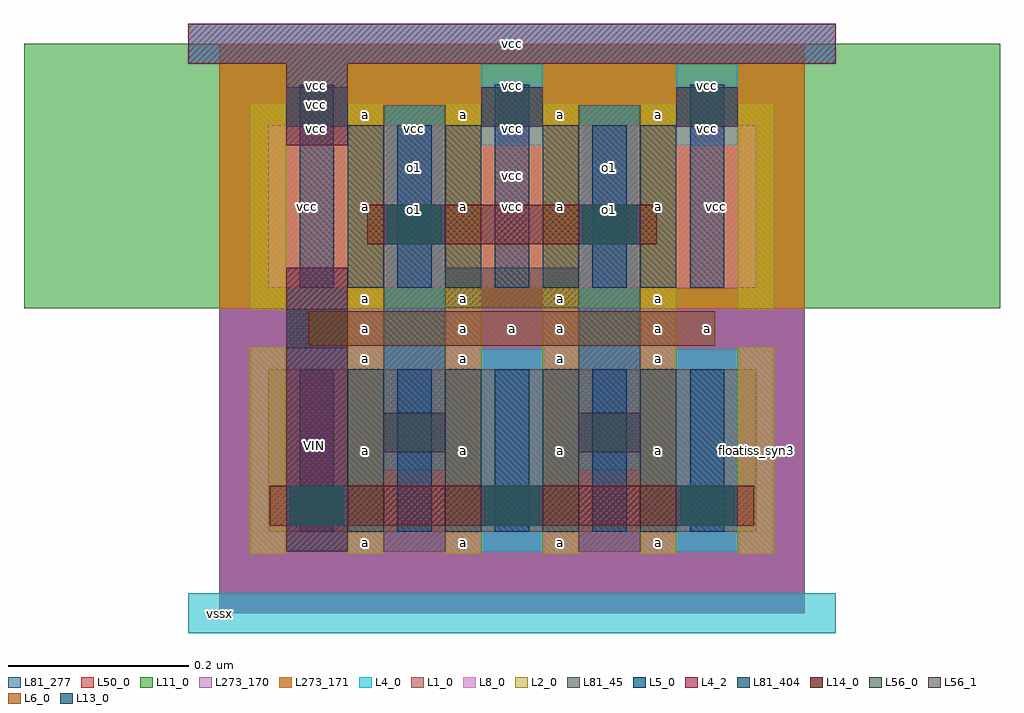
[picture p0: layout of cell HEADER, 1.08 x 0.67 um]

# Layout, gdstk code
import gdstk
lib = gdstk.Library(unit=1e-6, precision=5e-10)
def R(c, l, rs):  # rectangles x0, y0, x1, y1
    for r in rs: c.add(gdstk.rectangle(r[:2], r[2:], *l))
def A(c, l, x, y, w, h, nx, ny, dx, dy):  # array of equal rectangles
    R(c, l, [(x+i*dx, y+j*dy, x+i*dx+w, y+j*dy+h) for i in range(nx) for j in range(ny)])
L1_0 = (1, 0)
L2_0 = (2, 0)
L4_0 = (4, 0)
L4_2 = (4, 2)
L5_0 = (5, 0)
L6_0 = (6, 0)
L8_0 = (8, 0)
L11_0 = (11, 0)
L13_0 = (13, 0)
L14_0 = (14, 0)
L50_0 = (50, 0)
L56_0 = (56, 0)
L56_1 = (56, 1)
L81_45 = (81, 45)
L81_277 = (81, 277)
L81_404 = (81, 404)
L273_170 = (273, 170)
L273_171 = (273, 171)

header = lib.new_cell('HEADER')
A(header, L1_0, 0.089, 0.09, 0.038, 0.18, 5, 1, 0.108, 0)
A(header, L1_0, 0.142, 0.09, 0.04, 0.18, 4, 1, 0.108, 0)
R(header, L1_0, [(0.054,0.09,0.142,0.27), (0.182,0.09,0.25,0.27), (0.182,0.09,0.25,0.27), (0.29,0.09,0.358,0.27), (0.29,0.09,0.358,0.27), (0.398,0.09,0.466,0.27), (0.398,0.09,0.466,0.27), (0.506,0.09,0.594,0.27)])
A(header, L2_0, 0.142, 0.066, 0.04, 0.024, 4, 2, 0.108, 0.204)
A(header, L2_0, 0.142, 0.09, 0.04, 0.18, 4, 2, 0.108, 0.27)
A(header, L2_0, 0.142, 0.336, 0.04, 0.024, 4, 2, 0.108, 0.204)
A(header, L4_0, 0.074, 0.52, 0.068, 0.044, 3, 1, 0.216, 0)
R(header, L4_0, [(0.074,0.293,0.142,0.337), (0.182,0.448,0.25,0.492), (0.398,0.448,0.466,0.492)])
R(header, L4_2, [(0.074,0.0685,0.142,0.382)])
A(header, L5_0, 0.089, 0.09, 0.038, 0.18, 5, 2, 0.108, 0.27)
A(header, L5_0, 0.197, 0.155, 0.038, 0.003, 4, 2, 0.108, 0.047)
A(header, L5_0, 0.197, 0.158, 0.038, 0.044, 4, 1, 0.108, 0)
A(header, L5_0, 0.089, 0.535, 0.038, 0.003, 3, 2, 0.216, 0.047)
A(header, L5_0, 0.089, 0.538, 0.038, 0.044, 3, 1, 0.216, 0)
R(header, L5_0, [(0.197,0.445,0.235,0.448), (0.413,0.445,0.451,0.448), (0.197,0.448,0.235,0.492), (0.413,0.448,0.451,0.492), (0.197,0.492,0.235,0.495), (0.413,0.492,0.451,0.495)])
R(header, L6_0, [(0.099,0.296,0.117,0.334)])
A(header, L8_0, 0.089, 0.36, 0.038, 0.18, 5, 1, 0.108, 0)
A(header, L8_0, 0.142, 0.36, 0.04, 0.18, 4, 1, 0.108, 0)
R(header, L8_0, [(0.054,0.36,0.142,0.54), (0.182,0.36,0.25,0.54), (0.182,0.36,0.25,0.54), (0.29,0.36,0.358,0.54), (0.29,0.36,0.358,0.54), (0.398,0.36,0.466,0.54), (0.398,0.36,0.466,0.54), (0.506,0.36,0.594,0.54)])
R(header, L11_0, [(-0.216,0.3375,0.864,0.63)])
A(header, L13_0, 0.078, 0.097, 0.06, 0.044, 3, 1, 0.216, 0)
R(header, L13_0, [(0.186,0.408,0.246,0.452), (0.402,0.408,0.462,0.452)])
R(header, L14_0, [(0.056,0.097,0.592,0.141), (0.164,0.408,0.484,0.452)])
R(header, L50_0, [(0,0,0.648,0.63)])
A(header, L56_0, 0.074, 0.097, 0.068, 0.044, 3, 2, 0.216, 0.441)
R(header, L56_0, [(0.182,0.178,0.25,0.222), (0.398,0.178,0.466,0.222), (0.074,0.293,0.142,0.337), (0.182,0.408,0.25,0.452), (0.398,0.408,0.466,0.452)])
A(header, L56_1, 0.074, 0.097, 0.068, 0.044, 3, 2, 0.216, 0.441)
R(header, L56_1, [(0.182,0.178,0.25,0.222), (0.398,0.178,0.466,0.222), (0.074,0.293,0.142,0.337), (0.182,0.408,0.25,0.452), (0.398,0.408,0.466,0.452)])
R(header, L81_45, [(0.182,0.068,0.25,0.562), (0.398,0.068,0.466,0.562), (0.074,0.0685,0.142,0.3825), (0.25,0.338,0.398,0.382)])
A(header, L81_277, 0.142, 0.09, 0.04, 0.18, 4, 2, 0.108, 0.27)
R(header, L81_277, [(0,0,0.648,0.63)])
A(header, L81_404, 0.142, 0.09, 0.04, 0.18, 4, 2, 0.108, 0.27)
A(header, L273_170, 0.142, 0.09, 0.04, 0.18, 4, 1, 0.108, 0)
R(header, L273_170, [(0,0,0.648,0.3375)])
A(header, L273_171, 0.142, 0.36, 0.04, 0.18, 4, 1, 0.108, 0)
R(header, L273_171, [(0,0.3375,0.648,0.63)])
header.add(gdstk.FlexPath([(-0.034,0.63),(0.682,0.63)], 0.044, ends="flush", simple_path=True, layer=4, datatype=0))  # L4_0
header.add(gdstk.FlexPath([(-0.034,0),(0.682,0)], 0.044, ends="flush", simple_path=True, layer=4, datatype=0))  # L4_0
header.add(gdstk.FlexPath([(0.324,0.518),(0.324,0.608)], 0.068, ends="flush", simple_path=True, layer=4, datatype=0))  # L4_0
header.add(gdstk.FlexPath([(0.54,0.518),(0.54,0.608)], 0.068, ends="flush", simple_path=True, layer=4, datatype=0))  # L4_0
header.add(gdstk.FlexPath([(0.432,0.158),(0.432,0.562)], 0.068, ends="flush", simple_path=True, layer=4, datatype=0))  # L4_0
header.add(gdstk.FlexPath([(0.324,0.068),(0.324,0.292)], 0.068, ends="flush", simple_path=True, layer=4, datatype=0))  # L4_0
header.add(gdstk.FlexPath([(0.216,0.158),(0.216,0.562)], 0.068, ends="flush", simple_path=True, layer=4, datatype=0))  # L4_0
header.add(gdstk.FlexPath([(0.108,0.518),(0.108,0.608)], 0.068, ends="flush", simple_path=True, layer=4, datatype=0))  # L4_0
header.add(gdstk.FlexPath([(0.108,0.068),(0.108,0.382)], 0.068, ends="flush", simple_path=True, layer=4, datatype=0))  # L4_0
header.add(gdstk.FlexPath([(0.54,0.068),(0.54,0.292)], 0.068, ends="flush", simple_path=True, layer=4, datatype=0))  # L4_0
header.add(gdstk.FlexPath([(-0.034,0.63),(0.682,0.63)], 0.044, ends="flush", simple_path=True, layer=4, datatype=2))  # L4_2
header.add(gdstk.FlexPath([(0.108,0.518),(0.108,0.608)], 0.068, ends="flush", simple_path=True, layer=4, datatype=2))  # L4_2
header.add(gdstk.FlexPath([(0.594,0.066),(0.594,0.294)], 0.04, ends="flush", simple_path=True, layer=2, datatype=0))  # L2_0
header.add(gdstk.FlexPath([(0.594,0.336),(0.594,0.564)], 0.04, ends="flush", simple_path=True, layer=2, datatype=0))  # L2_0
header.add(gdstk.FlexPath([(0.486,0.294),(0.486,0.336)], 0.04, ends="flush", simple_path=True, layer=2, datatype=0))  # L2_0
header.add(gdstk.FlexPath([(0.378,0.294),(0.378,0.336)], 0.04, ends="flush", simple_path=True, layer=2, datatype=0))  # L2_0
header.add(gdstk.FlexPath([(0.27,0.294),(0.27,0.336)], 0.04, ends="flush", simple_path=True, layer=2, datatype=0))  # L2_0
header.add(gdstk.FlexPath([(0.162,0.294),(0.162,0.336)], 0.04, ends="flush", simple_path=True, layer=2, datatype=0))  # L2_0
header.add(gdstk.FlexPath([(0.054,0.066),(0.054,0.294)], 0.04, ends="flush", simple_path=True, layer=2, datatype=0))  # L2_0
header.add(gdstk.FlexPath([(0.054,0.336),(0.054,0.564)], 0.04, ends="flush", simple_path=True, layer=2, datatype=0))  # L2_0
header.add(gdstk.FlexPath([(0.099,0.315),(0.549,0.315)], 0.038, ends="flush", simple_path=True, layer=6, datatype=0))  # L6_0
header.add(gdstk.Label('vcc', (0.54,0.5835), layer=5, texttype=0))
header.add(gdstk.Label('vcc', (0.54,0.5365), layer=5, texttype=0))
header.add(gdstk.Label('o1', (0.432,0.4465), layer=5, texttype=0))
header.add(gdstk.Label('o1', (0.432,0.4935), layer=5, texttype=0))
header.add(gdstk.Label('vcc', (0.324,0.5365), layer=5, texttype=0))
header.add(gdstk.Label('vcc', (0.324,0.5835), layer=5, texttype=0))
header.add(gdstk.Label('vcc', (0.216,0.5365), layer=5, texttype=0))
header.add(gdstk.Label('o1', (0.216,0.4465), layer=5, texttype=0))
header.add(gdstk.Label('o1', (0.216,0.4935), layer=5, texttype=0))
header.add(gdstk.Label('vcc', (0.108,0.5835), layer=5, texttype=0))
header.add(gdstk.Label('vcc', (0.108,0.5365), layer=5, texttype=0))
header.add(gdstk.Label('vcc', (0.54,0.545), layer=4, texttype=0))
header.add(gdstk.Label('vcc', (0.324,0.63), layer=4, texttype=0))
header.add(gdstk.Label('vcc', (0.108,0.545), layer=4, texttype=0))
header.add(gdstk.Label('vcc', (0.324,0.545), layer=4, texttype=0))
header.add(gdstk.Label('vcc', (0.324,0.63), layer=4, texttype=2))
header.add(gdstk.Label('vcc', (0.108,0.563), layer=4, texttype=2))
header.add(gdstk.Label('VIN', (0.106,0.185), layer=4, texttype=2))
header.add(gdstk.Label('vcc', (0.324,0.484), layer=11, texttype=0))
header.add(gdstk.Label('vcc', (0.55,0.45), layer=8, texttype=0))
header.add(gdstk.Label('o1', (0.432,0.45), layer=8, texttype=0))
header.add(gdstk.Label('o1', (0.432,0.45), layer=8, texttype=0))
header.add(gdstk.Label('vcc', (0.324,0.45), layer=8, texttype=0))
header.add(gdstk.Label('vcc', (0.324,0.45), layer=8, texttype=0))
header.add(gdstk.Label('o1', (0.216,0.45), layer=8, texttype=0))
header.add(gdstk.Label('o1', (0.216,0.45), layer=8, texttype=0))
header.add(gdstk.Label('vcc', (0.098,0.45), layer=8, texttype=0))
header.add(gdstk.Label('floatiss_syn3', (0.594,0.18), layer=2, texttype=0))
header.add(gdstk.Label('floatiss_syn4', (0.594,0.45), layer=2, texttype=0))
header.add(gdstk.Label('a', (0.486,0.078), layer=2, texttype=0))
header.add(gdstk.Label('a', (0.486,0.282), layer=2, texttype=0))
header.add(gdstk.Label('a', (0.486,0.348), layer=2, texttype=0))
header.add(gdstk.Label('a', (0.486,0.552), layer=2, texttype=0))
header.add(gdstk.Label('a', (0.486,0.315), layer=2, texttype=0))
header.add(gdstk.Label('a', (0.486,0.18), layer=2, texttype=0))
header.add(gdstk.Label('a', (0.486,0.45), layer=2, texttype=0))
header.add(gdstk.Label('a', (0.378,0.282), layer=2, texttype=0))
header.add(gdstk.Label('a', (0.378,0.078), layer=2, texttype=0))
header.add(gdstk.Label('a', (0.378,0.552), layer=2, texttype=0))
header.add(gdstk.Label('a', (0.378,0.348), layer=2, texttype=0))
header.add(gdstk.Label('a', (0.378,0.315), layer=2, texttype=0))
header.add(gdstk.Label('a', (0.378,0.18), layer=2, texttype=0))
header.add(gdstk.Label('a', (0.378,0.45), layer=2, texttype=0))
header.add(gdstk.Label('a', (0.27,0.078), layer=2, texttype=0))
header.add(gdstk.Label('a', (0.27,0.282), layer=2, texttype=0))
header.add(gdstk.Label('a', (0.27,0.348), layer=2, texttype=0))
header.add(gdstk.Label('a', (0.27,0.552), layer=2, texttype=0))
header.add(gdstk.Label('a', (0.27,0.315), layer=2, texttype=0))
header.add(gdstk.Label('a', (0.27,0.18), layer=2, texttype=0))
header.add(gdstk.Label('a', (0.27,0.45), layer=2, texttype=0))
header.add(gdstk.Label('a', (0.162,0.282), layer=2, texttype=0))
header.add(gdstk.Label('a', (0.162,0.078), layer=2, texttype=0))
header.add(gdstk.Label('a', (0.162,0.348), layer=2, texttype=0))
header.add(gdstk.Label('a', (0.162,0.552), layer=2, texttype=0))
header.add(gdstk.Label('a', (0.162,0.315), layer=2, texttype=0))
header.add(gdstk.Label('a', (0.162,0.18), layer=2, texttype=0))
header.add(gdstk.Label('a', (0.162,0.45), layer=2, texttype=0))
header.add(gdstk.Label('floatiss_syn1', (0.054,0.18), layer=2, texttype=0))
header.add(gdstk.Label('floatiss_syn2', (0.054,0.45), layer=2, texttype=0))
header.add(gdstk.Label('a', (0.324,0.315), layer=6, texttype=0))
header.add(gdstk.Label('a', (0.54,0.315), layer=6, texttype=0))
header.add(gdstk.Label('vssx', (0,0), layer=81, texttype=6))

lib.write_gds('HEADER.gds')
